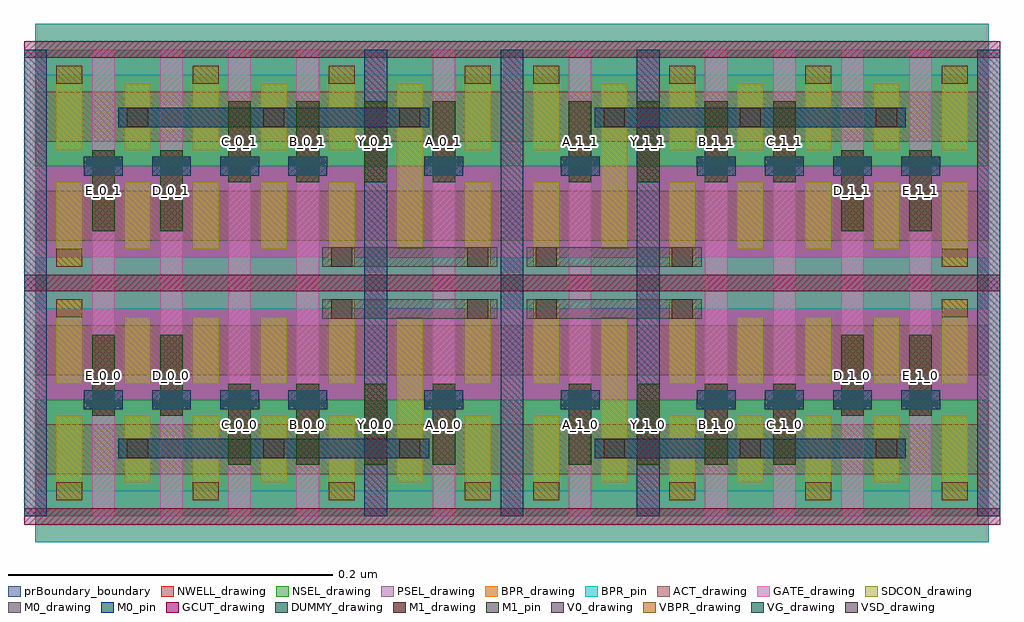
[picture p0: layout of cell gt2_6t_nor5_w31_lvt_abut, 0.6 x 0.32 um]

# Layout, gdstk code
from math import pi, radians
import gdstk
lib = gdstk.Library(unit=1e-6, precision=5e-10)
def R(c, l, rs):  # rectangles x0, y0, x1, y1
    for r in rs: c.add(gdstk.rectangle(r[:2], r[2:], *l))
def A(c, l, x, y, w, h, nx, ny, dx, dy):  # array of equal rectangles
    R(c, l, [(x+i*dx, y+j*dy, x+i*dx+w, y+j*dy+h) for i in range(nx) for j in range(ny)])
NWELL_drawing = (1, 0)
ACT_drawing = (2, 0)
GATE_drawing = (3, 0)
DUMMY_drawing = (4, 0)
GCUT_drawing = (5, 0)
NSEL_drawing = (6, 0)
PSEL_drawing = (7, 0)
BPR_drawing = (8, 0)
BPR_pin = (8, 251)
VBPR_drawing = (9, 0)
SDCON_drawing = (10, 0)
VSD_drawing = (11, 0)
VG_drawing = (12, 0)
M0_drawing = (20, 0)
M0_pin = (20, 251)
V0_drawing = (22, 0)
M1_drawing = (25, 0)
M1_pin = (25, 251)
prBoundary_boundary = (235, 250)

gt2_6t_nor5_w31_lvt = lib.new_cell('gt2_6t_nor5_w31_lvt')
R(gt2_6t_nor5_w31_lvt, NWELL_drawing, [(0,0.072,0.294,0.144)])
R(gt2_6t_nor5_w31_lvt, ACT_drawing, [(0,0.026,0.294,0.057), (0,0.087,0.294,0.118)])
A(gt2_6t_nor5_w31_lvt, GATE_drawing, -0.007, 0, 0.014, 0.144, 8, 1, 0.042, 0)
R(gt2_6t_nor5_w31_lvt, DUMMY_drawing, [(-0.007,0,0.007,0.072), (0.203,0,0.217,0.072), (0.287,0,0.301,0.072), (-0.007,0.072,0.007,0.144), (0.203,0.072,0.217,0.144), (0.287,0.072,0.301,0.144)])
R(gt2_6t_nor5_w31_lvt, GCUT_drawing, [(-0.007,-0.005,0.301,0.005), (-0.007,0.139,0.301,0.149)])
R(gt2_6t_nor5_w31_lvt, NSEL_drawing, [(0,0,0.294,0.072)])
R(gt2_6t_nor5_w31_lvt, PSEL_drawing, [(0,0.072,0.294,0.144)])
R(gt2_6t_nor5_w31_lvt, BPR_drawing, [(0,-0.016,0.294,0.016), (0,0.128,0.294,0.16)])
R(gt2_6t_nor5_w31_lvt, BPR_pin, [(0,-0.016,0.294,0.016), (0,0.128,0.294,0.16)])
A(gt2_6t_nor5_w31_lvt, VBPR_drawing, 0.013, 0.01, 0.016, 0.011, 4, 1, 0.084, 0)
R(gt2_6t_nor5_w31_lvt, VBPR_drawing, [(0.013,0.123,0.029,0.134)])
A(gt2_6t_nor5_w31_lvt, SDCON_drawing, 0.013, 0.01, 0.016, 0.052, 4, 1, 0.084, 0)
A(gt2_6t_nor5_w31_lvt, SDCON_drawing, 0.055, 0.082, 0.016, 0.041, 3, 1, 0.042, 0)
R(gt2_6t_nor5_w31_lvt, SDCON_drawing, [(0.055,0.021,0.071,0.062), (0.139,0.021,0.155,0.062), (0.223,0.021,0.239,0.123), (0.013,0.082,0.029,0.134), (0.181,0.082,0.197,0.134), (0.265,0.082,0.281,0.134)])
A(gt2_6t_nor5_w31_lvt, VSD_drawing, 0.0565, 0.036, 0.013, 0.012, 3, 1, 0.084, 0)
R(gt2_6t_nor5_w31_lvt, VSD_drawing, [(0.1825,0.122,0.1955,0.134), (0.2665,0.122,0.2795,0.134)])
A(gt2_6t_nor5_w31_lvt, VG_drawing, 0.035, 0.066, 0.014, 0.012, 4, 1, 0.042, 0)
R(gt2_6t_nor5_w31_lvt, VG_drawing, [(0.245,0.066,0.259,0.078)])
R(gt2_6t_nor5_w31_lvt, M0_drawing, [(0.051,0.036,0.075,0.048), (0.051,0.036,0.243,0.048), (0.135,0.036,0.159,0.048), (0.198,0.036,0.222,0.048), (0.219,0.036,0.243,0.048), (0.03,0.066,0.054,0.078), (0.03,0.066,0.054,0.078), (0.072,0.066,0.096,0.078), (0.072,0.066,0.096,0.078), (0.114,0.066,0.138,0.078), (0.114,0.066,0.138,0.078), (0.156,0.066,0.18,0.078), (0.156,0.066,0.18,0.078), (0.24,0.066,0.264,0.078), (0.24,0.066,0.264,0.078), (0.177,0.122,0.201,0.134), (0.177,0.122,0.285,0.134), (0.261,0.122,0.285,0.134)])
R(gt2_6t_nor5_w31_lvt, M0_pin, [(0.051,0.036,0.075,0.048), (0.051,0.036,0.243,0.048), (0.135,0.036,0.159,0.048), (0.198,0.036,0.222,0.048), (0.219,0.036,0.243,0.048), (0.03,0.066,0.054,0.078), (0.03,0.066,0.054,0.078), (0.072,0.066,0.096,0.078), (0.072,0.066,0.096,0.078), (0.114,0.066,0.138,0.078), (0.114,0.066,0.138,0.078), (0.156,0.066,0.18,0.078), (0.156,0.066,0.18,0.078), (0.24,0.066,0.264,0.078), (0.24,0.066,0.264,0.078)])
A(gt2_6t_nor5_w31_lvt, V0_drawing, 0.035, 0.066, 0.014, 0.012, 4, 1, 0.042, 0)
R(gt2_6t_nor5_w31_lvt, V0_drawing, [(0.203,0.036,0.217,0.048), (0.245,0.066,0.259,0.078)])
A(gt2_6t_nor5_w31_lvt, M1_drawing, 0.119, 0.032, 0.014, 0.05, 4, 1, 0.042, 0)
A(gt2_6t_nor5_w31_lvt, M1_drawing, 0.035, 0.062, 0.014, 0.02, 4, 1, 0.042, 0)
R(gt2_6t_nor5_w31_lvt, M1_drawing, [(0.203,0.032,0.217,0.052), (0.035,0.062,0.049,0.112), (0.077,0.062,0.091,0.112), (0.245,0.062,0.259,0.082)])
A(gt2_6t_nor5_w31_lvt, M1_pin, 0.119, 0.032, 0.014, 0.05, 4, 1, 0.042, 0)
A(gt2_6t_nor5_w31_lvt, M1_pin, 0.035, 0.062, 0.014, 0.02, 4, 1, 0.042, 0)
R(gt2_6t_nor5_w31_lvt, M1_pin, [(0.203,0.032,0.217,0.052), (0.035,0.062,0.049,0.112), (0.077,0.062,0.091,0.112), (0.245,0.062,0.259,0.082)])
R(gt2_6t_nor5_w31_lvt, prBoundary_boundary, [(0,0,0.294,0.144)])
gt2_6t_nor5_w31_lvt.add(gdstk.Label('vss', (0.147,0), layer=8, texttype=251))
gt2_6t_nor5_w31_lvt.add(gdstk.Label('vdd', (0.147,0.144), layer=8, texttype=251))
gt2_6t_nor5_w31_lvt.add(gdstk.Label('Y', (0.063,0.042), layer=20, texttype=251))
gt2_6t_nor5_w31_lvt.add(gdstk.Label('Y', (0.147,0.042), layer=20, texttype=251))
gt2_6t_nor5_w31_lvt.add(gdstk.Label('Y', (0.231,0.042), layer=20, texttype=251))
gt2_6t_nor5_w31_lvt.add(gdstk.Label('E', (0.042,0.072), layer=20, texttype=251))
gt2_6t_nor5_w31_lvt.add(gdstk.Label('D', (0.084,0.072), layer=20, texttype=251))
gt2_6t_nor5_w31_lvt.add(gdstk.Label('C', (0.126,0.072), layer=20, texttype=251))
gt2_6t_nor5_w31_lvt.add(gdstk.Label('B', (0.168,0.072), layer=20, texttype=251))
gt2_6t_nor5_w31_lvt.add(gdstk.Label('A', (0.252,0.072), layer=20, texttype=251))
gt2_6t_nor5_w31_lvt.add(gdstk.Label('Y', (0.147,0.042), layer=20, texttype=251))
gt2_6t_nor5_w31_lvt.add(gdstk.Label('Y', (0.21,0.042), layer=20, texttype=251))
gt2_6t_nor5_w31_lvt.add(gdstk.Label('E', (0.042,0.072), layer=20, texttype=251))
gt2_6t_nor5_w31_lvt.add(gdstk.Label('D', (0.084,0.072), layer=20, texttype=251))
gt2_6t_nor5_w31_lvt.add(gdstk.Label('C', (0.126,0.072), layer=20, texttype=251))
gt2_6t_nor5_w31_lvt.add(gdstk.Label('B', (0.168,0.072), layer=20, texttype=251))
gt2_6t_nor5_w31_lvt.add(gdstk.Label('A', (0.252,0.072), layer=20, texttype=251))
gt2_6t_nor5_w31_lvt.add(gdstk.Label('Y', (0.21,0.042), layer=25, texttype=251))
gt2_6t_nor5_w31_lvt.add(gdstk.Label('E', (0.042,0.072), layer=25, texttype=251))
gt2_6t_nor5_w31_lvt.add(gdstk.Label('D', (0.084,0.072), layer=25, texttype=251))
gt2_6t_nor5_w31_lvt.add(gdstk.Label('C', (0.126,0.072), layer=25, texttype=251))
gt2_6t_nor5_w31_lvt.add(gdstk.Label('B', (0.168,0.072), layer=25, texttype=251))
gt2_6t_nor5_w31_lvt.add(gdstk.Label('A', (0.252,0.072), layer=25, texttype=251))
gt2_6t_nor5_w31_lvt.add(gdstk.Label('C', (0.126,0.057), layer=25, texttype=251))
gt2_6t_nor5_w31_lvt.add(gdstk.Label('B', (0.168,0.057), layer=25, texttype=251))
gt2_6t_nor5_w31_lvt.add(gdstk.Label('Y', (0.21,0.057), layer=25, texttype=251))
gt2_6t_nor5_w31_lvt.add(gdstk.Label('A', (0.252,0.057), layer=25, texttype=251))
gt2_6t_nor5_w31_lvt.add(gdstk.Label('E', (0.042,0.087), layer=25, texttype=251))
gt2_6t_nor5_w31_lvt.add(gdstk.Label('D', (0.084,0.087), layer=25, texttype=251))

gt2_6t_nor5_w31_lvt_abut = lib.new_cell('gt2_6t_nor5_w31_lvt_abut')
gt2_6t_nor5_w31_lvt_abut.add(gdstk.Reference(gt2_6t_nor5_w31_lvt, (0,0)))
gt2_6t_nor5_w31_lvt_abut.add(gdstk.Reference(gt2_6t_nor5_w31_lvt, (0.588,0), rotation=pi, x_reflection=True))
gt2_6t_nor5_w31_lvt_abut.add(gdstk.Reference(gt2_6t_nor5_w31_lvt, (0,0.288), x_reflection=True))
gt2_6t_nor5_w31_lvt_abut.add(gdstk.Reference(gt2_6t_nor5_w31_lvt, (0.588,0.288), rotation=pi))
gt2_6t_nor5_w31_lvt_abut.add(gdstk.Label('A_0_0', (0.252,0.057), layer=25, texttype=251))
gt2_6t_nor5_w31_lvt_abut.add(gdstk.Label('B_0_0', (0.168,0.057), layer=25, texttype=251))
gt2_6t_nor5_w31_lvt_abut.add(gdstk.Label('C_0_0', (0.126,0.057), layer=25, texttype=251))
gt2_6t_nor5_w31_lvt_abut.add(gdstk.Label('D_0_0', (0.084,0.087), layer=25, texttype=251))
gt2_6t_nor5_w31_lvt_abut.add(gdstk.Label('E_0_0', (0.042,0.087), layer=25, texttype=251))
gt2_6t_nor5_w31_lvt_abut.add(gdstk.Label('Y_0_0', (0.21,0.057), layer=25, texttype=251))
gt2_6t_nor5_w31_lvt_abut.add(gdstk.Label('A_1_0', (0.336,0.057), layer=25, texttype=251))
gt2_6t_nor5_w31_lvt_abut.add(gdstk.Label('B_1_0', (0.42,0.057), layer=25, texttype=251))
gt2_6t_nor5_w31_lvt_abut.add(gdstk.Label('C_1_0', (0.462,0.057), layer=25, texttype=251))
gt2_6t_nor5_w31_lvt_abut.add(gdstk.Label('D_1_0', (0.504,0.087), layer=25, texttype=251))
gt2_6t_nor5_w31_lvt_abut.add(gdstk.Label('E_1_0', (0.546,0.087), layer=25, texttype=251))
gt2_6t_nor5_w31_lvt_abut.add(gdstk.Label('Y_1_0', (0.378,0.057), layer=25, texttype=251))
gt2_6t_nor5_w31_lvt_abut.add(gdstk.Label('A_0_1', (0.252,0.231), layer=25, texttype=251))
gt2_6t_nor5_w31_lvt_abut.add(gdstk.Label('B_0_1', (0.168,0.231), layer=25, texttype=251))
gt2_6t_nor5_w31_lvt_abut.add(gdstk.Label('C_0_1', (0.126,0.231), layer=25, texttype=251))
gt2_6t_nor5_w31_lvt_abut.add(gdstk.Label('D_0_1', (0.084,0.201), layer=25, texttype=251))
gt2_6t_nor5_w31_lvt_abut.add(gdstk.Label('E_0_1', (0.042,0.201), layer=25, texttype=251))
gt2_6t_nor5_w31_lvt_abut.add(gdstk.Label('Y_0_1', (0.21,0.231), layer=25, texttype=251))
gt2_6t_nor5_w31_lvt_abut.add(gdstk.Label('A_1_1', (0.336,0.231), layer=25, texttype=251))
gt2_6t_nor5_w31_lvt_abut.add(gdstk.Label('B_1_1', (0.42,0.231), layer=25, texttype=251))
gt2_6t_nor5_w31_lvt_abut.add(gdstk.Label('C_1_1', (0.462,0.231), layer=25, texttype=251))
gt2_6t_nor5_w31_lvt_abut.add(gdstk.Label('D_1_1', (0.504,0.201), layer=25, texttype=251))
gt2_6t_nor5_w31_lvt_abut.add(gdstk.Label('E_1_1', (0.546,0.201), layer=25, texttype=251))
gt2_6t_nor5_w31_lvt_abut.add(gdstk.Label('Y_1_1', (0.378,0.231), layer=25, texttype=251))

lib.write_gds('gt2_6t_nor5_w31_lvt_abut.gds')
